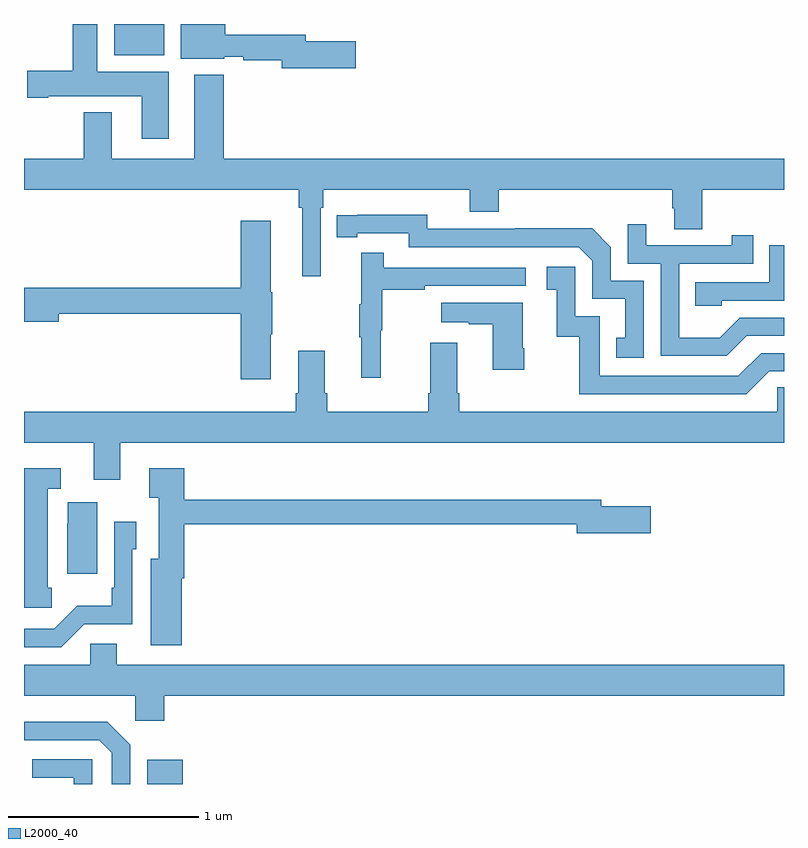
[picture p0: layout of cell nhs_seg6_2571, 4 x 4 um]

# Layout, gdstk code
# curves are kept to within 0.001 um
import gdstk
lib = gdstk.Library(unit=1e-6, precision=1e-09)
def R(c, l, rs):  # rectangles x0, y0, x1, y1
    for r in rs: c.add(gdstk.rectangle(r[:2], r[2:], *l))
def P(c, l, *ps):  # polygons
    for p in ps: c.add(gdstk.Polygon(p, *l))
L2000_40 = (2000, 40)

nhs_seg6_2571 = lib.new_cell('nhs_seg6_2571')
R(nhs_seg6_2571, L2000_40, [(263.648,985.5,263.835,985.627), (263.474,989.336,263.737,989.5)])
P(nhs_seg6_2571, L2000_40, [(264.745,989.408),(264.484,989.408),(264.484,989.444),(264.058,989.444),(264.058,989.5),(263.825,989.5),(263.825,989.318),(264.054,989.318),(264.054,989.328),(264.154,989.328),(264.154,989.308),(264.356,989.308),(264.356,989.266),(264.745,989.266)],
  [(263.761,989.248),(263.386,989.248),(263.386,989.5),(263.257,989.5),(263.257,989.255),(263.016,989.255),(263.016,989.113),(263.128,989.113),(263.128,989.12),(263.621,989.12),(263.621,988.896),(263.761,988.896)],
  [(264.05,989.233),(263.897,989.233),(263.897,988.792),(263.461,988.792),(263.461,989.035),(263.314,989.035),(263.314,988.792),(263,988.792),(263,988.628),(264.445,988.628),(264.445,988.532),(264.464,988.532),(264.464,988.173),(264.561,988.173),(264.561,988.532),(264.575,988.532),(264.575,988.628),(265.346,988.628),(265.346,988.511),(265.499,988.511),(265.499,988.628),(266.411,988.628),(266.411,988.53),(266.423,988.53),(266.423,988.42),(266.571,988.42),(266.571,988.628),(267,988.628),(267,988.792),(264.05,988.792)],
  [(266.262,988.149),(266.088,988.149),(266.088,988.326),(265.99,988.424),(265.582,988.424),(265.582,988.422),(265.122,988.422),(265.122,988.495),(264.646,988.494),(264.646,988.378),(264.754,988.378),(264.754,988.398),(265.026,988.398),(265.026,988.326),(265.92,988.326),(265.992,988.254),(265.992,988.053),(266.165,988.053),(266.165,987.849),(266.116,987.849),(266.116,987.744),(266.262,987.744)],
  [(264.298,987.868),(264.306,987.868),(264.306,988.089),(264.298,988.089),(264.298,988.465),(264.14,988.465),(264.14,988.112),(263,988.112),(263,987.934),(263.182,987.934),(263.182,987.976),(264.14,987.976),(264.14,987.63),(264.298,987.63)],
  [(266.803,987.858),(267,987.858),(267,987.954),(266.766,987.954),(266.662,987.85),(266.448,987.85),(266.448,988.239),(266.837,988.239),(266.837,988.387),(266.726,988.387),(266.726,988.335),(266.275,988.335),(266.275,988.447),(266.178,988.447),(266.178,988.239),(266.352,988.239),(266.352,987.753),(266.698,987.753)],
  [(266.673,988.044),(267,988.044),(267,988.335),(266.922,988.335),(266.922,988.14),(266.533,988.14),(266.533,988.017),(266.673,988.017)],
  [(264.878,987.888),(264.886,987.888),(264.886,988.102),(265.109,988.102),(265.109,988.122),(265.642,988.122),(265.642,988.218),(264.893,988.218),(264.893,988.297),(264.776,988.297),(264.776,988.025),(264.765,988.025),(264.765,987.851),(264.776,987.851),(264.776,987.639),(264.878,987.639)],
  [(266.922,987.672),(267,987.672),(267,987.768),(266.88,987.768),(266.76,987.648),(266.031,987.648),(266.031,987.963),(265.902,987.963),(265.902,988.222),(265.752,988.222),(265.752,988.101),(265.805,988.101),(265.805,987.855),(265.923,987.855),(265.923,987.552),(266.802,987.552)],
  [(265.632,987.793),(265.624,987.793),(265.624,988.033),(265.197,988.033),(265.197,987.929),(265.34,987.929),(265.34,987.919),(265.466,987.919),(265.466,987.681),(265.632,987.681)],
  [(263.506,987.296),(267,987.296),(267,987.587),(266.964,987.587),(266.964,987.46),(265.292,987.46),(265.292,987.556),(265.279,987.556),(265.279,987.823),(265.139,987.823),(265.139,987.556),(265.127,987.556),(265.127,987.46),(264.596,987.46),(264.596,987.556),(264.583,987.556),(264.583,987.781),(264.443,987.781),(264.443,987.556),(264.431,987.556),(264.431,987.46),(263,987.46),(263,987.296),(263.366,987.296),(263.366,987.102),(263.506,987.102)],
  [(263.83,986.582),(263.843,986.582),(263.843,986.866),(265.91,986.866),(265.91,986.819),(266.299,986.819),(266.299,986.961),(266.038,986.961),(266.038,986.995),(263.843,986.995),(263.843,987.163),(263.658,987.163),(263.658,987.007),(263.708,987.007),(263.708,986.686),(263.666,986.686),(263.666,986.229),(263.83,986.229)],
  [(263.147,986.532),(263.125,986.532),(263.125,987.055),(263.194,987.055),(263.194,987.163),(263,987.163),(263,986.427),(263.147,986.427)],
  [(263.386,986.983),(263.23,986.983),(263.23,986.87),(263.228,986.87),(263.228,986.607),(263.386,986.607)],
  [(263.316,986.34),(263.571,986.34),(263.571,986.736),(263.592,986.736),(263.592,986.881),(263.475,986.881),(263.475,986.533),(263.463,986.533),(263.463,986.437),(263.281,986.437),(263.16,986.316),(263,986.316),(263,986.22),(263.196,986.22)],
  [(263.738,985.964),(267,985.964),(267,986.128),(263.488,986.128),(263.488,986.238),(263.349,986.238),(263.349,986.128),(263,986.128),(263,985.964),(263.586,985.964),(263.586,985.833),(263.738,985.833)],
  [(263.559,985.707),(263.438,985.828),(263,985.828),(263,985.731),(263.397,985.731),(263.463,985.665),(263.463,985.5),(263.559,985.5)],
  [(263.358,985.629),(263.043,985.629),(263.043,985.533),(263.262,985.533),(263.262,985.5),(263.358,985.5)])

lib.write_gds('nhs_seg6_2571.gds')
